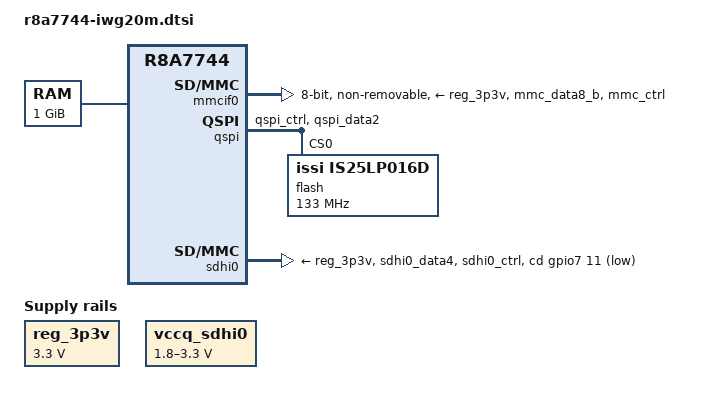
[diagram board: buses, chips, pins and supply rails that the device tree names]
// SPDX-License-Identifier: GPL-2.0
/*
 * Device Tree Source for the iWave RZ/G1N Qseven SOM
 *
 * Copyright (C) 2018 Renesas Electronics Corp.
 */

#include "r8a7744.dtsi"
#include <dt-bindings/gpio/gpio.h>

/ {
	compatible = "iwave,g20m", "renesas,r8a7744";

	memory@40000000 {
		device_type = "memory";
		reg = <0 0x40000000 0 0x40000000>;
	};

	reg_3p3v: 3p3v {
		compatible = "regulator-fixed";
		regulator-name = "3P3V";
		regulator-min-microvolt = <3300000>;
		regulator-max-microvolt = <3300000>;
		regulator-always-on;
		regulator-boot-on;
	};

	vccq_sdhi0: regulator-vccq-sdhi0 {
		compatible = "regulator-gpio";

		regulator-name = "SDHI0 VccQ";
		regulator-min-microvolt = <1800000>;
		regulator-max-microvolt = <3300000>;

		gpios = <&gpio1 13 GPIO_ACTIVE_LOW>;
		gpios-states = <1>;
		states = <3300000 1
			1800000 0>;
	};
};

&extal_clk {
	clock-frequency = <20000000>;
};

&pfc {
	mmcif0_pins: mmc {
		groups = "mmc_data8_b", "mmc_ctrl";
		function = "mmc";
	};

	qspi_pins: qspi {
		groups = "qspi_ctrl", "qspi_data2";
		function = "qspi";
	};

	sdhi0_pins: sd0 {
		groups = "sdhi0_data4", "sdhi0_ctrl";
		function = "sdhi0";
		power-source = <3300>;
	};

	sdhi0_pins_uhs: sd0_uhs {
		groups = "sdhi0_data4", "sdhi0_ctrl";
		function = "sdhi0";
		power-source = <1800>;
	};
};

&mmcif0 {
	pinctrl-0 = <&mmcif0_pins>;
	pinctrl-names = "default";

	vmmc-supply = <&reg_3p3v>;
	bus-width = <8>;
	non-removable;
	status = "okay";
};

&qspi {
	pinctrl-0 = <&qspi_pins>;
	pinctrl-names = "default";

	status = "okay";

	/* WARNING - This device contains the bootloader. Handle with care. */
	flash: flash@0 {
		#address-cells = <1>;
		#size-cells = <1>;
		compatible = "issi,is25lp016d", "jedec,spi-nor";
		reg = <0>;
		spi-max-frequency = <133000000>;
		spi-tx-bus-width = <2>;
		spi-rx-bus-width = <2>;
		m25p,fast-read;
		spi-cpol;
		spi-cpha;
	};
};

&sdhi0 {
	pinctrl-0 = <&sdhi0_pins>;
	pinctrl-1 = <&sdhi0_pins_uhs>;
	pinctrl-names = "default", "state_uhs";

	vmmc-supply = <&reg_3p3v>;
	vqmmc-supply = <&vccq_sdhi0>;
	cd-gpios = <&gpio7 11 GPIO_ACTIVE_LOW>;
	sd-uhs-sdr50;
	status = "okay";
};
